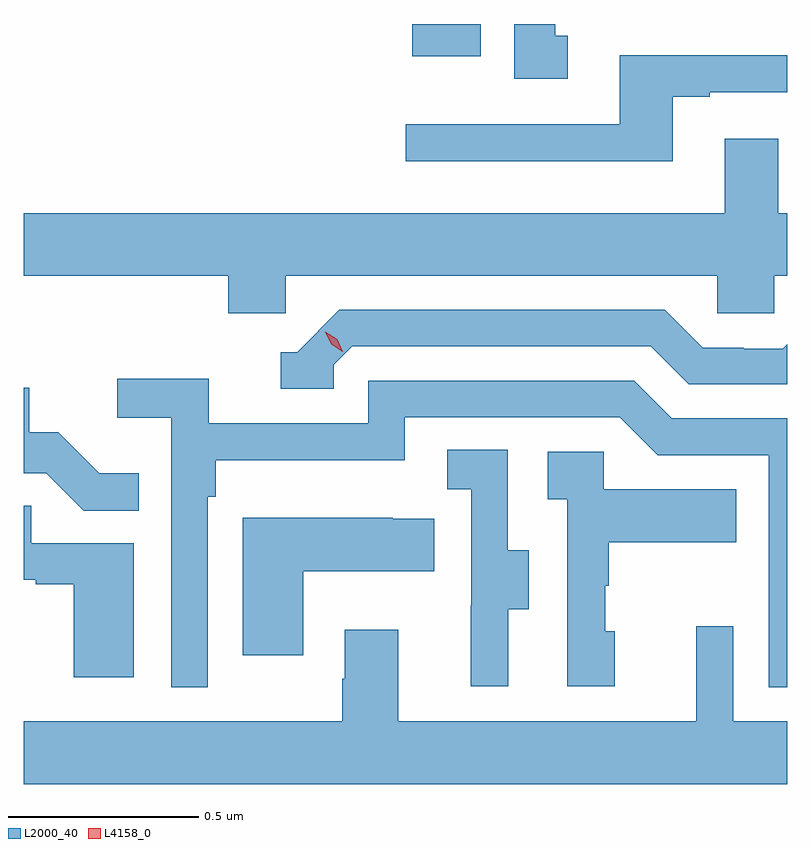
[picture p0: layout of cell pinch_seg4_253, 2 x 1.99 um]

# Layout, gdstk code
import gdstk
lib = gdstk.Library(unit=1e-6, precision=1e-09)
def R(c, l, rs):  # rectangles x0, y0, x1, y1
    for r in rs: c.add(gdstk.rectangle(r[:2], r[2:], *l))
def P(c, l, *ps):  # polygons
    for p in ps: c.add(gdstk.Polygon(p, *l))
L2000_40 = (2000, 40)
L4158_0 = (4158, 0)

pinch_seg4_253 = lib.new_cell('pinch_seg4_253')
R(pinch_seg4_253, L2000_40, [(914.372,816.044,914.551,816.128)])
P(pinch_seg4_253, L2000_40, [(914.779,816.097),(914.746,816.097),(914.746,816.128),(914.639,816.128),(914.639,815.985),(914.779,815.985)],
  [(915.055,815.937),(915.151,815.937),(915.151,815.949),(915.354,815.949),(915.354,816.046),(914.915,816.046),(914.915,815.865),(914.355,815.865),(914.355,815.768),(915.055,815.768)],
  [(914.04,815.468),(915.171,815.468),(915.171,815.37),(915.321,815.37),(915.321,815.468),(915.354,815.468),(915.354,815.632),(915.331,815.632),(915.331,815.827),(915.191,815.827),(915.191,815.632),(913.354,815.632),(913.354,815.468),(913.889,815.468),(913.889,815.37),(914.04,815.37)],
  [(914.166,815.235),(914.214,815.283),(914.997,815.283),(915.096,815.184),(915.354,815.184),(915.354,815.288),(915.343,815.277),(915.24,815.277),(915.24,815.28),(915.133,815.28),(915.034,815.379),(914.181,815.379),(914.07,815.268),(914.027,815.268),(914.027,815.172),(914.166,815.172)],
  [(913.836,814.889),(913.856,814.889),(913.856,814.985),(914.352,814.985),(914.352,815.097),(914.916,815.097),(915.015,814.998),(915.306,814.998),(915.306,814.389),(915.354,814.389),(915.354,815.094),(915.052,815.094),(914.953,815.193),(914.256,815.193),(914.256,815.082),(913.838,815.082),(913.838,815.198),(913.599,815.198),(913.599,815.096),(913.74,815.096),(913.74,814.389),(913.836,814.389)],
  [(913.655,814.951),(913.551,814.951),(913.444,815.058),(913.368,815.058),(913.368,815.175),(913.354,815.175),(913.354,814.95),(913.413,814.95),(913.511,814.852),(913.655,814.852)],
  [(914.623,814.594),(914.677,814.594),(914.677,814.749),(914.622,814.749),(914.622,815.012),(914.463,815.012),(914.463,814.909),(914.526,814.909),(914.526,814.605),(914.525,814.605),(914.525,814.392),(914.623,814.392)],
  [(914.902,814.536),(914.877,814.536),(914.877,814.655),(914.887,814.655),(914.887,814.769),(915.221,814.769),(915.221,814.909),(914.874,814.909),(914.874,815.007),(914.727,815.007),(914.727,814.883),(914.778,814.883),(914.778,814.392),(914.902,814.392)],
  [(913.642,814.767),(913.373,814.767),(913.373,814.865),(913.354,814.865),(913.354,814.671),(913.385,814.671),(913.385,814.659),(913.484,814.659),(913.484,814.416),(913.642,814.416)],
  [(914.086,814.694),(914.429,814.694),(914.429,814.831),(914.321,814.831),(914.321,814.834),(913.928,814.834),(913.928,814.473),(914.086,814.473)],
  [(915.354,814.3),(915.213,814.3),(915.213,814.549),(915.116,814.549),(915.116,814.3),(914.335,814.3),(914.335,814.54),(914.195,814.54),(914.195,814.412),(914.188,814.412),(914.188,814.3),(913.354,814.3),(913.354,814.136),(915.354,814.136)])
P(pinch_seg4_253, L4158_0, [(914.19,815.269),(914.16,815.289),(914.144,815.322),(914.144,815.322),(914.144,815.322),(914.175,815.302),(914.19,815.269),(914.19,815.269)])

lib.write_gds('pinch_seg4_253.gds')
